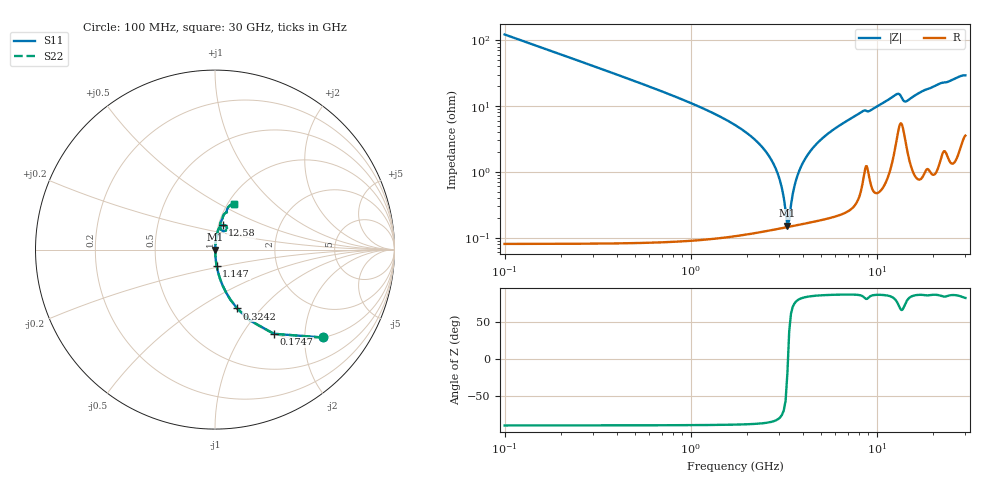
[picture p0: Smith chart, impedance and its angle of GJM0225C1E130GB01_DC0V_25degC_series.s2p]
!Murata Part Number: GJM0225C1E130GB01
!These Parameters are Measured in Series Mode Connection
!  o--ll--o
!Port1  Port2
!  o------o
!Operation Temp=25[degC], DC Bias Voltage=0[V]
!Freq. Start=100[MHz] Stop=30[GHz], 401[Steps]
!Data Generated on Feb 1, 2023
# Hz S RI R 50
!Freq.(Hz) S11(Real) S11(Imag) S21(Real) S21(Imag) S12(Real) S12(Imag) S22(Real) S22(Imag)
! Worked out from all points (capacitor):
!   401 points, 100 MHz to 30 GHz, reference 50 ohm
!   read as one part in series: C = 13 pF near 249.5 MHz
!   lowest |Z| = 152 mohm at 3.314 GHz (marker M1)
!   series resonance near 3.336 GHz, so ESL is about 180 pH
!   S11 on the Smith chart (normalised r, x): 100 MHz: 1.00, -2.45; 174.8 MHz: 1.00, -1.40; 324.2 MHz: 1.00, -0.75; 1.147 GHz: 1.00, -0.19; 12.58 GHz: 1.05, +0.29; 30 GHz: 1.07, +0.58
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1e8  0.5993 -0.4897  0.4007 0.4897  0.4007 0.4897  0.5993 -0.4897
1.7475e8  0.3282 -0.469  0.6718 0.469  0.6718 0.469  0.3282 -0.469
3.2425e8  0.1232 -0.3276  0.8768 0.3276  0.8768 0.3276  0.1232 -0.3276
6.2325e8  0.0354 -0.1826  0.9646 0.1826  0.9646 0.1826  0.0354 -0.1826
1.1465e9  0.00967 -0.0931  0.9903 0.0931  0.9903 0.0931  0.00967 -0.0931
2.6415e9  0.00157 -0.0172  0.9984 0.0172  0.9984 0.0172  0.00157 -0.0172
2.9405e9  0.00144 -0.00923  0.9986 0.00923  0.9986 0.00923  0.00144 -0.00923
3.2395e9  0.00143 -0.00215  0.9986 0.00215  0.9986 0.00215  0.00143 -0.00215
3.31425e9  0.00144 -0.000481  0.9986 0.000481  0.9986 0.000481  0.00144 -0.000481
3.46375e9  0.00149 0.00274  0.9985 -0.00274  0.9985 -0.00274  0.00149 0.00274
3.688e9  0.00159 0.00733  0.9984 -0.00733  0.9984 -0.00733  0.00159 0.00733
3.987e9  0.00177 0.0131  0.9982 -0.0131  0.9982 -0.0131  0.00177 0.0131
4.4355e9  0.00215 0.0211  0.9979 -0.0211  0.9979 -0.0211  0.00215 0.0211
5.10825e9  0.00289 0.0321  0.9971 -0.0321  0.9971 -0.0321  0.00289 0.0321
7.4255e9  0.00725 0.0663  0.9927 -0.0663  0.9927 -0.0663  0.00725 0.0663
1.01165e10  0.0145 0.0978  0.9855 -0.0978  0.9855 -0.0978  0.0145 0.0978
1.258325e10  0.0419 0.1358  0.9581 -0.1358  0.9581 -0.1358  0.0419 0.1358
1.4153e10  0.0439 0.1038  0.9561 -0.1038  0.9561 -0.1038  0.0439 0.1038
1.505e10  0.0293 0.1213  0.9707 -0.1213  0.9707 -0.1213  0.0293 0.1213
2.005825e10  0.0447 0.1848  0.9553 -0.1848  0.9553 -0.1848  0.0447 0.1848
2.50665e10  0.0674 0.2244  0.9326 -0.2244  0.9326 -0.2244  0.0674 0.2244
3e10  0.1049 0.2515  0.8951 -0.2515  0.8951 -0.2515  0.1049 0.2515
